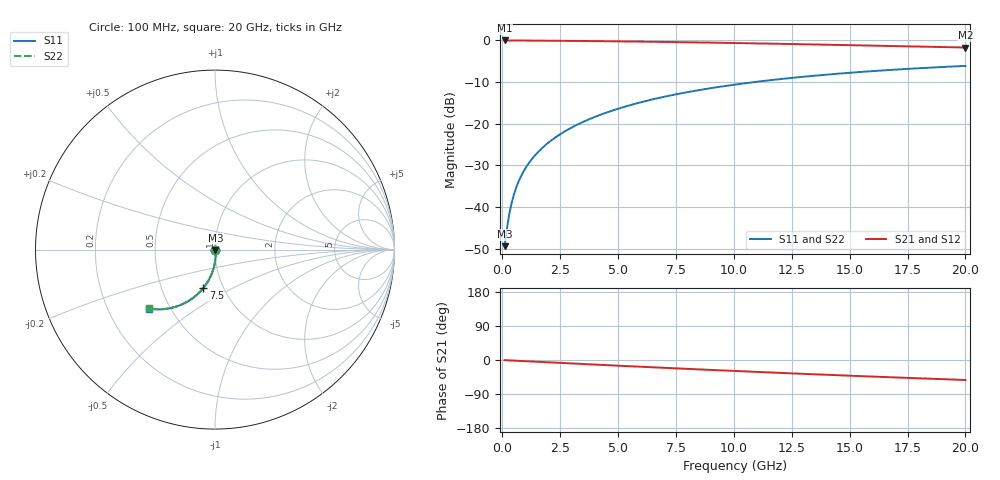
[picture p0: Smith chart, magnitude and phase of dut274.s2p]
! Touchstone file exported from HFSS 2026.1.0
!  File:  C:/ffzhzh/LocalFiles/Ansys_Project_Files/temp_train_BSMRDL_274_1782988994_45328.aedt
!  Generated:  06:44:40 PM Jul  2, 2026
!  Design:  BSMRDL
!  Project:  temp_train_BSMRDL_274_1782988994_45328
! Variables:
!  h_bsmrdl = 5.5um
!  h_ox = 20um
!  h_rdl = 5um
!  h_sub = 80um
!  h_tmrdl = 5um
!  h_tsv = 80um
!  h_via = 3um
!  l_bsmrdl = 746.23um
!  l_sub = 1146.23um
!  l_tmrdl = 200um
!  m_sub = 200um
!  pitch = 21.56um
!  r_tsv = 6um
!  s_tmrdl = 10um
!  w_bsmrdl = 20.53um
!  w_sub = 500um
!  w_tmrdl = 12um
!  x_tsv_center1 = 206um
!  x_tsv_center2 = 972.76um
!  x_tsv_center3 = 1184.76um
!  x_tsv_center4 = 1951.52um
!  x_tsv_center5 = 2163.52um
!  x_tsv_center6 = 2930.28um
# GHz S MA R 50.000000
! Terminal data exported
! Port[1] = BSM_RDL1_1_T1
! Port[2] = BSM_RDL1_1_T2
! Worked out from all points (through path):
!   200 points, 100 MHz to 20 GHz, reference 50 ohm
!   highest |S21| = -0.02 dB at 100 MHz (marker M1); lowest = -1.7 dB at 20 GHz (marker M2)
!   group delay of S21, straight-line fit = 7.32 ps
!   lowest |S11| = -49.4 dB at 100 MHz (marker M3), VSWR 1.01, Z = 50.3 - j0.204 ohm
!   |S11| at or under -10 dB: start of sweep to 10.91 GHz
!   |S22| runs from -49.4 to -6.1 dB; largest |S21 - S12| = 2e-14
!   S11 on the Smith chart (normalised r, x): 100 MHz: 1.01, -0.00; 7.5 GHz: 0.80, -0.36; 20 GHz: 0.38, -0.33
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0.1  0.003383 -36.9  0.9973 -0.4  0.9973 -0.4  0.003383 -36.9
! Gamma 0 0 0 0
! Port Impedance 50 0 50 0
0.2  0.005524 -53.3  0.9966 -0.7  0.9966 -0.7  0.005524 -53.3
0.3  0.008188 -61.6  0.996 -1.0  0.996 -1.0  0.008188 -61.6
0.4  0.01108 -67.0  0.9954 -1.3  0.9954 -1.3  0.01108 -67.0
0.5  0.01406 -70.9  0.995 -1.6  0.995 -1.6  0.01406 -70.9
0.6  0.01708 -73.9  0.9946 -1.9  0.9946 -1.9  0.01708 -73.9
0.7  0.0201 -76.2  0.9943 -2.2  0.9943 -2.2  0.0201 -76.2
0.8  0.02313 -78.1  0.994 -2.5  0.994 -2.5  0.02313 -78.1
1  0.02918 -80.9  0.9935 -3.1  0.9935 -3.1  0.02918 -80.9
1.4  0.04128 -84.7  0.9923 -4.4  0.9923 -4.4  0.04127 -84.8
1.7  0.05036 -86.8  0.9913 -5.3  0.9913 -5.3  0.05035 -86.8
2  0.05946 -88.4  0.9902 -6.2  0.9902 -6.2  0.05945 -88.4
2.7  0.08079 -91.4  0.9871 -8.3  0.9871 -8.3  0.08078 -91.5
3.5  0.1053 -94.4  0.9829 -10.7  0.9829 -10.7  0.1053 -94.4
4.2  0.1267 -96.8  0.9786 -12.7  0.9786 -12.7  0.1267 -96.8
5  0.1511 -99.3  0.9733 -15.0  0.9733 -15.0  0.1511 -99.4
6.8  0.2047 -104.9  0.9595 -20.1  0.9595 -20.1  0.2047 -105.0
7.5  0.225 -107.0  0.9535 -22.1  0.9535 -22.1  0.2249 -107.0
10.1  0.2958 -114.4  0.9289 -29.1  0.9289 -29.1  0.2957 -114.5
13.4  0.3747 -123.1  0.8937 -37.6  0.8937 -37.6  0.3745 -123.2
16.7  0.4405 -131.1  0.8567 -45.4  0.8567 -45.4  0.4403 -131.1
20  0.4937 -138.3  0.8204 -52.7  0.8204 -52.7  0.4935 -138.4
